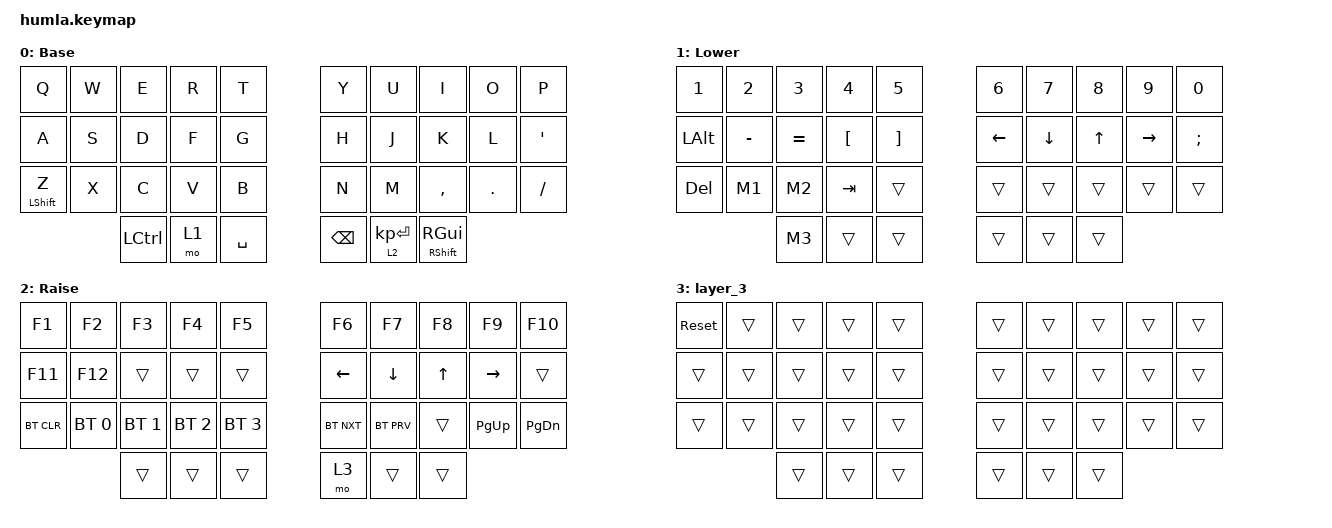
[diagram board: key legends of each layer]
/*
 * Copyright (c) 2020 The ZMK Contributors
 *
 * SPDX-License-Identifier: MIT
 */

#include <behaviors.dtsi>
#include <dt-bindings/zmk/bt.h>
#include <dt-bindings/zmk/keys.h>


/ {
    combos {
        compatible = "zmk,combos";

        Esc {
            bindings = <&kp ESC>;
            key-positions = <1 0>;
        };
    };

    macros {
        M1: M1 {
            compatible = "zmk,behavior-macro";
            #binding-cells = <0>;
            bindings = <&kp LS(LG(S))>;
            label = "M1";
        };

        M3: M3 {
            compatible = "zmk,behavior-macro";
            #binding-cells = <0>;
            bindings = <&kp LC(LA(DEL))>;
            label = "M3";
        };

        M2: M2 {
            compatible = "zmk,behavior-macro";
            #binding-cells = <0>;
            bindings = <&kp LC(LS(R))>;
            label = "M2";
        };
    };

    keymap {
        compatible = "zmk,keymap";

        default_layer {
            // -----------------------------------------------------------------------------------------
            // |  TAB |  Q  |  W  |  E  |  R  |  T  |   |  Y  |  U   |  I  |  O  |  P  | BKSP |
            // | CTRL |  A  |  S  |  D  |  F  |  G  |   |  H  |  J   |  K  |  L  |  ;  |  '   |
            // | SHFT |  Z  |  X  |  C  |  V  |  B  |   |  N  |  M   |  ,  |  .  |  /  | ESC  |
            //                    | GUI | LWR | SPC |   | ENT | RSE  | ALT |

            label = "Base";
            bindings = <
  &kp Q             &kp W  &kp E             &kp R  &kp T        &kp Y          &kp U           &kp I                      &kp O       &kp P
  &kp A             &kp S  &kp D             &kp F  &kp G        &kp H          &kp J           &kp K                      &kp L       &kp SQT
  &mt LEFT_SHIFT Z  &kp X  &kp C             &kp V  &kp B        &kp N          &kp M           &kp COMMA                  &kp PERIOD  &kp SLASH
                           &kp LEFT_CONTROL  &mo 1  &kp SPACE    &kp BACKSPACE  &lt 2 KP_ENTER  &mt RIGHT_SHIFT RIGHT_GUI
            >;
        };

        lower_layer {
            // -----------------------------------------------------------------------------------------
            // |  TAB |  1  |  2  |  3  |  4  |  5  |   |  6  |  7  |  8  |  9  |  0  | BKSP |
            // | BTCLR| BT1 | BT2 | BT3 | BT4 | BT5 |   | LFT | DWN |  UP | RGT |     |      |
            // | SHFT |     |     |     |     |     |   |     |     |     |     |     |      |
            //                    | GUI |     | SPC |   | ENT |     | ALT |

            label = "Lower";
            bindings = <
  &kp NUMBER_1  &kp NUMBER_2  &kp NUMBER_3  &kp NUMBER_4      &kp N5               &kp NUMBER_6  &kp N7    &kp N8        &kp N9     &kp N0
  &kp LEFT_ALT  &kp MINUS     &kp EQUAL     &kp LEFT_BRACKET  &kp RIGHT_BRACKET    &kp LEFT      &kp DOWN  &kp UP_ARROW  &kp RIGHT  &kp SEMICOLON
  &kp DEL       &M1           &M2           &kp TAB           &trans               &trans        &trans    &trans        &trans     &trans
                              &M3           &trans            &trans               &trans        &trans    &trans
            >;
        };

        raise_layer {
            // -----------------------------------------------------------------------------------------
            // |  TAB |  !  |  @  |  #  |  $  |  %  |   |  ^  |  &  |  *  |  (  |  )  | BKSP |
            // | CTRL |     |     |     |     |     |   |  -  |  =  |  [  |  ]  |  \  |  `   |
            // | SHFT |     |     |     |     |     |   |  _  |  +  |  {  |  }  | "|" |  ~   |
            //                    | GUI |     | SPC |   | ENT |     | ALT |

            label = "Raise";
            bindings = <
  &kp F1      &kp F2        &kp F3        &kp F4        &kp F5          &kp F6      &kp F7      &kp F8        &kp F9     &kp F10
  &kp F11     &kp F12       &trans        &trans        &trans          &kp LEFT    &kp DOWN    &kp UP_ARROW  &kp RIGHT  &trans
  &bt BT_CLR  &bt BT_SEL 0  &bt BT_SEL 1  &bt BT_SEL 2  &bt BT_SEL 3    &bt BT_NXT  &bt BT_PRV  &trans        &kp PG_UP  &kp PAGE_DOWN
                            &trans        &trans        &trans          &mo 3       &trans      &trans
            >;
        };

        layer_3 {
            bindings = <
  &sys_reset  &trans  &trans  &trans  &trans    &trans  &trans  &trans  &trans  &trans
  &trans      &trans  &trans  &trans  &trans    &trans  &trans  &trans  &trans  &trans
  &trans      &trans  &trans  &trans  &trans    &trans  &trans  &trans  &trans  &trans
                      &trans  &trans  &trans    &trans  &trans  &trans
            >;
        };
    };
};
